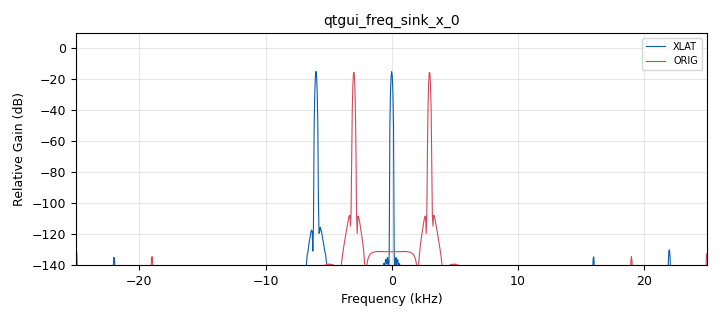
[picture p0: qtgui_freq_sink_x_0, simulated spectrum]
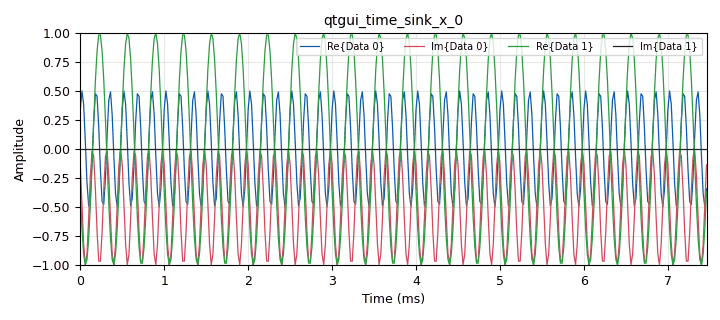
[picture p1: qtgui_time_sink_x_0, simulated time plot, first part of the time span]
<?xml version='1.0' encoding='utf-8'?>
<?grc format='1' created='3.7.13'?>
<flow_graph>
<block>
<key>options</key>
<param><key>id</key><value>top_block</value></param>
<param><key>category</key><value>Custom</value></param>
<param><key>generate_options</key><value>qt_gui</value></param>
<param><key>title</key><value>TEST XLAT-FIR BLOCK</value></param>
</block>
<block>
<key>variable</key>
<param><key>id</key><value>Fc1</value></param>
<param><key>value</key><value>3e3</value></param>
</block>
<block>
<key>variable_qtgui_range</key>
<param><key>id</key><value>Fc2</value></param>
<param><key>value</key><value>0</value></param>
<param><key>label</key><value>New Fc [Hz]</value></param>
<param><key>orient</key><value>Qt.Horizontal</value></param>
<param><key>start</key><value>-Fs/2</value></param>
<param><key>step</key><value>100</value></param>
<param><key>stop</key><value>Fs/2</value></param>
</block>
<block>
<key>variable</key>
<param><key>id</key><value>Fs</value></param>
<param><key>value</key><value>50e3</value></param>
</block>
<block>
<key>analog_const_source_x</key>
<param><key>id</key><value>analog_const_source_x_0</value></param>
<param><key>const</key><value>0</value></param>
<param><key>type</key><value>float</value></param>
</block>
<block>
<key>analog_sig_source_x</key>
<param><key>id</key><value>analog_sig_source_x_0</value></param>
<param><key>amp</key><value>1</value></param>
<param><key>freq</key><value>Fc1</value></param>
<param><key>offset</key><value>0</value></param>
<param><key>type</key><value>float</value></param>
<param><key>samp_rate</key><value>Fs</value></param>
<param><key>waveform</key><value>analog.GR_SIN_WAVE</value></param>
</block>
<block>
<key>blocks_float_to_complex</key>
<param><key>id</key><value>blocks_float_to_complex_0</value></param>
</block>
<block>
<key>blocks_throttle</key>
<param><key>id</key><value>blocks_throttle_0</value></param>
<param><key>samples_per_second</key><value>Fs</value></param>
<param><key>type</key><value>complex</value></param>
</block>
<block>
<key>freq_xlating_fir_filter_xxx</key>
<param><key>id</key><value>freq_xlating_fir_filter_xxx_0</value></param>
<param><key>center_freq</key><value>Fc1-Fc2</value></param>
<param><key>decim</key><value>1</value></param>
<param><key>samp_rate</key><value>Fs</value></param>
<param><key>taps</key><value>1</value></param>
<param><key>type</key><value>ccc</value></param>
</block>
<block>
<key>qtgui_freq_sink_x</key>
<param><key>id</key><value>qtgui_freq_sink_x_0</value></param>
<param><key>bw</key><value>Fs</value></param>
<param><key>fc</key><value>0</value></param>
<param><key>ctrlpanel</key><value>True</value></param>
<param><key>fftsize</key><value>1024</value></param>
<param><key>grid</key><value>True</value></param>
<param><key>label1</key><value>XLAT</value></param>
<param><key>label2</key><value>ORIG</value></param>
<param><key>nconnections</key><value>2</value></param>
<param><key>showports</key><value>True</value></param>
<param><key>type</key><value>complex</value></param>
<param><key>wintype</key><value>firdes.WIN_BLACKMAN_hARRIS</value></param>
</block>
<block>
<key>qtgui_time_sink_x</key>
<param><key>id</key><value>qtgui_time_sink_x_0</value></param>
<param><key>ctrlpanel</key><value>True</value></param>
<param><key>grid</key><value>True</value></param>
<param><key>color1</key><value>"blue"</value></param>
<param><key>label1</key><value></value></param>
<param><key>color2</key><value>"blue"</value></param>
<param><key>label2</key><value></value></param>
<param><key>style2</key><value>3</value></param>
<param><key>color3</key><value>"red"</value></param>
<param><key>label3</key><value></value></param>
<param><key>color4</key><value>"red"</value></param>
<param><key>label4</key><value></value></param>
<param><key>style4</key><value>3</value></param>
<param><key>nconnections</key><value>2</value></param>
<param><key>size</key><value>1024</value></param>
<param><key>srate</key><value>Fs</value></param>
<param><key>type</key><value>complex</value></param>
</block>
<connection><source_block_id>analog_const_source_x_0</source_block_id><sink_block_id>blocks_float_to_complex_0</sink_block_id><source_key>0</source_key><sink_key>1</sink_key></connection>
<connection><source_block_id>analog_sig_source_x_0</source_block_id><sink_block_id>blocks_float_to_complex_0</sink_block_id><source_key>0</source_key><sink_key>0</sink_key></connection>
<connection><source_block_id>blocks_float_to_complex_0</source_block_id><sink_block_id>blocks_throttle_0</sink_block_id><source_key>0</source_key><sink_key>0</sink_key></connection>
<connection><source_block_id>blocks_throttle_0</source_block_id><sink_block_id>freq_xlating_fir_filter_xxx_0</sink_block_id><source_key>0</source_key><sink_key>0</sink_key></connection>
<connection><source_block_id>blocks_throttle_0</source_block_id><sink_block_id>qtgui_freq_sink_x_0</sink_block_id><source_key>0</source_key><sink_key>1</sink_key></connection>
<connection><source_block_id>blocks_throttle_0</source_block_id><sink_block_id>qtgui_time_sink_x_0</sink_block_id><source_key>0</source_key><sink_key>1</sink_key></connection>
<connection><source_block_id>freq_xlating_fir_filter_xxx_0</source_block_id><sink_block_id>qtgui_freq_sink_x_0</sink_block_id><source_key>0</source_key><sink_key>0</sink_key></connection>
<connection><source_block_id>freq_xlating_fir_filter_xxx_0</source_block_id><sink_block_id>qtgui_time_sink_x_0</sink_block_id><source_key>0</source_key><sink_key>0</sink_key></connection>
</flow_graph>
